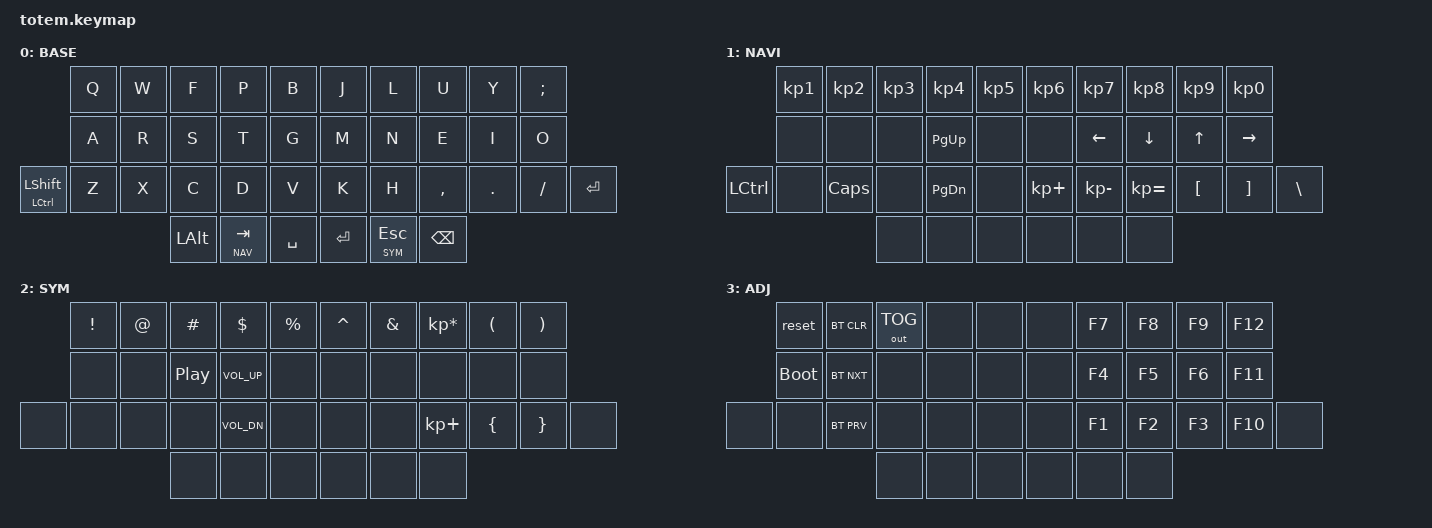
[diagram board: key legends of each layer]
//
//                                                        ▀▀▀▀▀     ▀▀▀▀▀          ▀▀█▀▀
//                                                        ▄▀▀▀▄  ▄  ▄▀▀▀▄  ▄  ▄▀▀▀▄  █  ▄▀▀▀▄
//                                                        █   █  █  █   █  █  █   █  █  █   █
//                                                         ▀▀▀   █   ▀▀▀   █   ▀▀▀   ▀   ▀▀▀
//                                                               █      ▄▄▄█▄▄▄    █   █  
//                                                               ▀      █  █  █     █▄█
//                                                             ▀▀▀▀▀    █  █  █      ▀
//                                                                      ▀  ▀  ▀
//
// ▄▄▄▄▄▄▄▄▄▄▄▄▄▄▄▄▄▄▄▄▄▄▄▄▄▄▄▄▄▄▄▄▄▄▄▄▄▄▄▄▄▄▄▄▄▄▄▄▄▄▄▄▄▄▄▄▄▄▄▄▄▄▄▄▄▄▄▄▄▄▄▄▄▄▄▄▄▄▄▄▄▄▄▄▄▄▄▄▄▄▄▄▄▄▄▄▄▄▄▄▄▄▄▄▄▄▄▄▄▄▄▄▄▄▄▄▄▄▄▄▄▄▄▄▄▄▄▄▄▄▄▄▄▄▄▄▄▄▄▄▄▄▄▄▄▄▄▄▄
       

#include <behaviors.dtsi>
#include <dt-bindings/zmk/keys.h>
#include <dt-bindings/zmk/bt.h>
#include <dt-bindings/zmk/outputs.h>

#define BASE 0
#define NAV  1
#define SYM  2
#define ADJ  3

&mt {
  quick-tap-ms = <100>;
  global-quick-tap;
  flavor = "tap-preferred";
  tapping-term-ms = <170>;
};

/ {
    combos {
            compatible = "zmk,combos";
            combo_esc {
                timeout-ms = <50>;
                key-positions = <0 1>;
                bindings = <&kp ESC>;
            };
    };
//
//    macros {
//        gif: gif {
//            label = "giphy";
//            compatible = "zmk,behavior-macro";
//            #binding-cells = <0>;
//            bindings
//                = <&macro_press &kp LSHFT>
//                , <&macro_tap &kp N2>
//                , <&macro_release &kp LSHFT>
//                , <&macro_tap &kp G &kp I &kp F>
//                ;
//        };
//    };

        keymap {
                compatible = "zmk,keymap";
// ▄▄▄▄▄▄▄▄▄▄▄▄▄▄▄▄▄▄▄▄▄▄▄▄▄▄▄▄▄▄▄▄▄▄▄▄▄▄▄▄▄▄▄▄▄▄▄▄▄▄▄▄▄▄▄▄▄▄▄▄▄▄▄▄▄▄▄▄▄▄▄▄▄▄▄▄▄▄▄▄▄▄▄▄▄▄▄▄▄▄▄▄▄▄▄▄▄▄▄▄▄▄▄▄▄▄▄▄▄▄▄▄▄▄▄▄▄▄▄▄▄▄▄▄▄▄▄▄▄▄▄▄▄▄▄▄▄▄▄▄▄▄▄▄▄▄▄▄▄

                base_layer {
// ┏━━━━━━━━━━━━━━━━━━━━━━━━━━━━━━━━━━━━━━━┓
label= "BASE"                              ;
// ┗━━━━━━━━━━━━━━━━━━━━━━━━━━━━━━━━━━━━━━━┛
//             ┏━━━━━━━━━━━┳━━━━━━━━━━━┳━━━━━━━━━━━┳━━━━━━━━━━━┳━━━━━━━━━━━┓   ┏━━━━━━━━━━━┳━━━━━━━━━━━┳━━━━━━━━━━━┳━━━━━━━━━━━┳━━━━━━━━━━━┓
//             ┃     Q     ┃     W     ┃     F     ┃     P     ┃     B     ┃   ┃     J     ┃     L     ┃     U     ┃     Y     ┃     ;     ┃
//             ┣━━━━━━━━━━━╋━━━━━━━━━━━╋━━━━━━━━━━━╋━━━━━━━━━━━╋━━━━━━━━━━━┫   ┣━━━━━━━━━━━╋━━━━━━━━━━━╋━━━━━━━━━━━╋━━━━━━━━━━━╋━━━━━━━━━━━┫
//             ┃     A     ┃     R     ┃     S     ┃     T     ┃     G     ┃   ┃     M     ┃     N     ┃     E     ┃     I     ┃     O     ┃
// ┏━━━━━━━━━━━╋━━━━━━━━━━━╋━━━━━━━━━━━╋━━━━━━━━━━━╋━━━━━━━━━━━╋━━━━━━━━━━━┫   ┣━━━━━━━━━━━╋━━━━━━━━━━━╋━━━━━━━━━━━╋━━━━━━━━━━━╋━━━━━━━━━━━╋━━━━━━━━━━━┓
// ┃   SHIFT   ┃     Z     ┃     X     ┃     C     ┃     D     ┃     V     ┃   ┃     K     ┃     H     ┃     ,     ┃     .     ┃     /     ┃    DEL    ┃
// ┗━━━━━━━━━━━┻━━━━━━━━━━━┻━━━━━━━━━━━╋━━━━━━━━━━━╋━━━━━━━━━━━╋━━━━━━━━━━━┫   ┣━━━━━━━━━━━╋━━━━━━━━━━━╋━━━━━━━━━━━╋━━━━━━━━━━━┻━━━━━━━━━━━┻━━━━━━━━━━━┛
//                                     ┃    ALT    ┃    NAV    ┃    SPC    ┃   ┃   ENTER   ┃    ESC    ┃   BSPC    ┃
//                                     ┗━━━━━━━━━━━┻━━━━━━━━━━━┻━━━━━━━━━━━┛   ┗━━━━━━━━━━━┻━━━━━━━━━━━┻━━━━━━━━━━━┛
 bindings = <
// ╷           ╷           ╷           ╷           ╷           ╷           ╷   ╷           ╷           ╷           ╷           ╷           ╷           ╷

                &kp Q       &kp W       &kp F       &kp P       &kp B           &kp J       &kp L       &kp U       &kp Y       &kp SEMI
                &kp A       &kp R       &kp S       &kp T       &kp G           &kp M       &kp N       &kp E       &kp I       &kp O
 &mt LCTRL LSHIFT &kp Z     &kp X       &kp C       &kp D       &kp V           &kp K       &kp H       &kp COMMA   &kp DOT     &kp FSLH    &kp RET
                                        &kp LALT  &lt NAV TAB   &kp SPACE       &kp RET     &lt SYM ESC &kp BSPC
                        >;
                };

// ▄▄▄▄▄▄▄▄▄▄▄▄▄▄▄▄▄▄▄▄▄▄▄▄▄▄▄▄▄▄▄▄▄▄▄▄▄▄▄▄▄▄▄▄▄▄▄▄▄▄▄▄▄▄▄▄▄▄▄▄▄▄▄▄▄▄▄▄▄▄▄▄▄▄▄▄▄▄▄▄▄▄▄▄▄▄▄▄▄▄▄▄▄▄▄▄▄▄▄▄▄▄▄▄▄▄▄▄▄▄▄▄▄▄▄▄▄▄▄▄▄▄▄▄▄▄▄▄▄▄▄▄▄▄▄▄▄▄▄▄▄▄▄▄▄▄▄▄▄


                nav_layer {
// ┏━━━━━━━━━━━━━━━━━━━━━━━━━━━━━━━━━━━━━━━┓
label= "NAVI"                              ;
// ┗━━━━━━━━━━━━━━━━━━━━━━━━━━━━━━━━━━━━━━━┛
//             ┏━━━━━━━━━━━┳━━━━━━━━━━━┳━━━━━━━━━━━┳━━━━━━━━━━━┳━━━━━━━━━━━┓   ┏━━━━━━━━━━━┳━━━━━━━━━━━┳━━━━━━━━━━━┳━━━━━━━━━━━┳━━━━━━━━━━━┓
//             ┃    1      ┃     2     ┃     3     ┃     4     ┃     5     ┃   ┃     6     ┃     7     ┃     8     ┃     9     ┃     0     ┃
//             ┣━━━━━━━━━━━╋━━━━━━━━━━━╋━━━━━━━━━━━╋━━━━━━━━━━━╋━━━━━━━━━━━┫   ┣━━━━━━━━━━━╋━━━━━━━━━━━╋━━━━━━━━━━━╋━━━━━━━━━━━╋━━━━━━━━━━━┫
//             ┃           ┃           ┃           ┃   P UP    ┃           ┃   ┃           ┃   LEFT    ┃    DOWN   ┃     UP    ┃   RIGHT   ┃
// ┏━━━━━━━━━━━╋━━━━━━━━━━━╋━━━━━━━━━━━╋━━━━━━━━━━━╋━━━━━━━━━━━╋━━━━━━━━━━━┫   ┣━━━━━━━━━━━╋━━━━━━━━━━━╋━━━━━━━━━━━╋━━━━━━━━━━━╋━━━━━━━━━━━╋━━━━━━━━━━━┓
// ┃   CTRL    ┃           ┃   C LOCK  ┃           ┃  P DOWN   ┃           ┃   ┃     +     ┃     -     ┃     =     ┃     [     ┃     ]     ┃     \     ┃
// ┗━━━━━━━━━━━┻━━━━━━━━━━━┻━━━━━━━━━━━╋━━━━━━━━━━━╋━━━━━━━━━━━╋━━━━━━━━━━━┫   ┣━━━━━━━━━━━╋━━━━━━━━━━━╋━━━━━━━━━━━╋━━━━━━━━━━━┻━━━━━━━━━━━┻━━━━━━━━━━━┛
//                                     ┃           ┃    TAB    ┃    SPC    ┃   ┃           ┃           ┃           ┃
//                                     ┗━━━━━━━━━━━┻━━━━━━━━━━━┻━━━━━━━━━━━┛   ┗━━━━━━━━━━━┻━━━━━━━━━━━┻━━━━━━━━━━━┛
 bindings = <
// ╷           ╷           ╷           ╷           ╷           ╷           ╷   ╷           ╷           ╷           ╷           ╷           ╷           ╷

                &kp KP_N1   &kp KP_N2   &kp KP_N3   &kp KP_N4   &kp KP_N5       &kp KP_N6   &kp KP_N7   &kp KP_N8   &kp KP_N9   &kp KP_N0
                &none      &none      &none      &kp PG_UP   &none          &none      &kp LEFT    &kp DOWN    &kp UP      &kp RIGHT
    &kp LCTRL   &none      &kp CAPS    &none      &kp PG_DN   &none         &kp KP_PLUS &kp KP_MINUS &kp KP_EQUAL &kp LBKT    &kp RBKT      &kp BSLH      
                                        &none      &none      &none          &none      &none      &none      
                        >;
                };

// ▄▄▄▄▄▄▄▄▄▄▄▄▄▄▄▄▄▄▄▄▄▄▄▄▄▄▄▄▄▄▄▄▄▄▄▄▄▄▄▄▄▄▄▄▄▄▄▄▄▄▄▄▄▄▄▄▄▄▄▄▄▄▄▄▄▄▄▄▄▄▄▄▄▄▄▄▄▄▄▄▄▄▄▄▄▄▄▄▄▄▄▄▄▄▄▄▄▄▄▄▄▄▄▄▄▄▄▄▄▄▄▄▄▄▄▄▄▄▄▄▄▄▄▄▄▄▄▄▄▄▄▄▄▄▄▄▄▄▄▄▄▄▄▄▄▄▄▄▄


                sim_layer {
// ┏━━━━━━━━━━━━━━━━━━━━━━━━━━━━━━━━━━━━━━━┓
label= "SYM"                               ;
// ┗━━━━━━━━━━━━━━━━━━━━━━━━━━━━━━━━━━━━━━━┛
//             ┏━━━━━━━━━━━┳━━━━━━━━━━━┳━━━━━━━━━━━┳━━━━━━━━━━━┳━━━━━━━━━━━┓   ┏━━━━━━━━━━━┳━━━━━━━━━━━┳━━━━━━━━━━━┳━━━━━━━━━━━┳━━━━━━━━━━━┓
//             ┃     !     ┃     @     ┃     #     ┃     $     ┃     %     ┃   ┃     ^     ┃     &     ┃     *     ┃     (     ┃     )     ┃
//             ┣━━━━━━━━━━━╋━━━━━━━━━━━╋━━━━━━━━━━━╋━━━━━━━━━━━╋━━━━━━━━━━━┫   ┣━━━━━━━━━━━╋━━━━━━━━━━━╋━━━━━━━━━━━╋━━━━━━━━━━━╋━━━━━━━━━━━┫
//             ┃           ┃           ┃    PLAY   ┃    VOL+   ┃           ┃   ┃           ┃           ┃           ┃           ┃           ┃
// ┏━━━━━━━━━━━╋━━━━━━━━━━━╋━━━━━━━━━━━╋━━━━━━━━━━━╋━━━━━━━━━━━╋━━━━━━━━━━━┫   ┣━━━━━━━━━━━╋━━━━━━━━━━━╋━━━━━━━━━━━╋━━━━━━━━━━━╋━━━━━━━━━━━╋━━━━━━━━━━━┓
// ┃           ┃           ┃           ┃           ┃    VOL-   ┃           ┃   ┃           ┃     _     ┃     +     ┃     {     ┃     }     ┃           ┃
// ┗━━━━━━━━━━━┻━━━━━━━━━━━┻━━━━━━━━━━━╋━━━━━━━━━━━╋━━━━━━━━━━━╋━━━━━━━━━━━┫   ┣━━━━━━━━━━━╋━━━━━━━━━━━╋━━━━━━━━━━━╋━━━━━━━━━━━┻━━━━━━━━━━━┻━━━━━━━━━━━┛
//                                     ┃           ┃           ┃           ┃   ┃           ┃           ┃           ┃
//                                     ┗━━━━━━━━━━━┻━━━━━━━━━━━┻━━━━━━━━━━━┛   ┗━━━━━━━━━━━┻━━━━━━━━━━━┻━━━━━━━━━━━┛
 bindings = <
// ╷           ╷           ╷           ╷           ╷           ╷           ╷   ╷           ╷           ╷           ╷           ╷           ╷           ╷

                &kp EXCL    &kp AT      &kp HASH    &kp DLLR    &kp PRCNT       &kp CARET   &kp AMPS  &kp KP_MULTIPLY &kp LPAR  &kp RPAR 
                &none      &none      &kp C_PP   &kp C_VOL_UP &none          &none      &none     &none      &none      &none       
    &none      &none      &none      &none     &kp C_VOL_DN &none          &none      &none     &kp KP_PLUS    &kp LBRC    &kp RBRC     &none         
                                        &none      &none      &none          &none      &none     &none      
                        >;
                };

// ▄▄▄▄▄▄▄▄▄▄▄▄▄▄▄▄▄▄▄▄▄▄▄▄▄▄▄▄▄▄▄▄▄▄▄▄▄▄▄▄▄▄▄▄▄▄▄▄▄▄▄▄▄▄▄▄▄▄▄▄▄▄▄▄▄▄▄▄▄▄▄▄▄▄▄▄▄▄▄▄▄▄▄▄▄▄▄▄▄▄▄▄▄▄▄▄▄▄▄▄▄▄▄▄▄▄▄▄▄▄▄▄▄▄▄▄▄▄▄▄▄▄▄▄▄▄▄▄▄▄▄▄▄▄▄▄▄▄▄▄▄▄▄▄▄▄▄▄▄


                adjust_layer {
// ┏━━━━━━━━━━━━━━━━━━━━━━━━━━━━━━━━━━━━━━━┓
label= "ADJ"                               ;
// ┗━━━━━━━━━━━━━━━━━━━━━━━━━━━━━━━━━━━━━━━┛
//             ┏━━━━━━━━━━━┳━━━━━━━━━━━┳━━━━━━━━━━━┳━━━━━━━━━━━┳━━━━━━━━━━━┓   ┏━━━━━━━━━━━┳━━━━━━━━━━━┳━━━━━━━━━━━┳━━━━━━━━━━━┳━━━━━━━━━━━┓
//             ┃   RESET   ┃ BT CLEAR  ┃  OUT TOG  ┃           ┃           ┃   ┃           ┃    F7     ┃    F8     ┃    F9     ┃    F12    ┃
//             ┣━━━━━━━━━━━╋━━━━━━━━━━━╋━━━━━━━━━━━╋━━━━━━━━━━━╋━━━━━━━━━━━┫   ┣━━━━━━━━━━━╋━━━━━━━━━━━╋━━━━━━━━━━━╋━━━━━━━━━━━╋━━━━━━━━━━━┫
//             ┃ BOOTLOAD  ┃ BT NEXT   ┃           ┃           ┃           ┃   ┃           ┃    F4     ┃    F5     ┃    F6     ┃    F11    ┃
// ┏━━━━━━━━━━━╋━━━━━━━━━━━╋━━━━━━━━━━━╋━━━━━━━━━━━╋━━━━━━━━━━━╋━━━━━━━━━━━┫   ┣━━━━━━━━━━━╋━━━━━━━━━━━╋━━━━━━━━━━━╋━━━━━━━━━━━╋━━━━━━━━━━━╋━━━━━━━━━━━┓
// ┃           ┃           ┃ BT PREV   ┃           ┃           ┃           ┃   ┃           ┃    F1     ┃    F2     ┃    F3     ┃    F10    ┃           ┃
// ┗━━━━━━━━━━━┻━━━━━━━━━━━┻━━━━━━━━━━━╋━━━━━━━━━━━╋━━━━━━━━━━━╋━━━━━━━━━━━┫   ┣━━━━━━━━━━━╋━━━━━━━━━━━╋━━━━━━━━━━━╋━━━━━━━━━━━┻━━━━━━━━━━━┻━━━━━━━━━━━┛
//                                     ┃           ┃           ┃           ┃   ┃           ┃           ┃           ┃
//                                     ┗━━━━━━━━━━━┻━━━━━━━━━━━┻━━━━━━━━━━━┛   ┗━━━━━━━━━━━┻━━━━━━━━━━━┻━━━━━━━━━━━┛
 bindings = <
// ╷           ╷           ╷           ╷           ╷           ╷           ╷   ╷           ╷           ╷           ╷           ╷           ╷           ╷

                &reset      &bt BT_CLR &out OUT_TOG &none      &none          &none      &kp F7      &kp F8      &kp F9      &kp F12
                &bootloader &bt BT_NXT  &none      &none      &none          &none      &kp F4      &kp F5      &kp F6      &kp F11  
    &none      &none      &bt BT_PRV  &none      &none      &none          &none      &kp F1      &kp F2      &kp F3      &kp F10     &none         
                                        &none      &none      &none          &none      &none      &none      
                        >;
                };
        };
};
